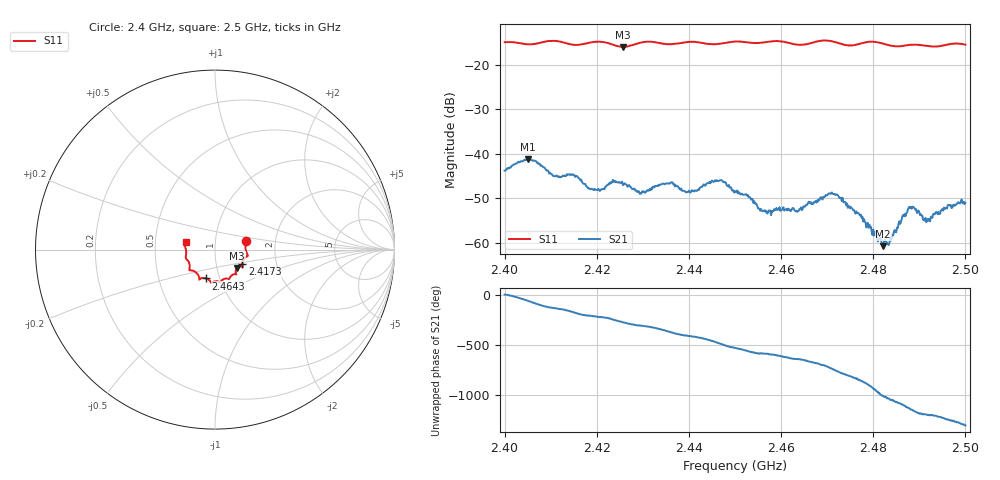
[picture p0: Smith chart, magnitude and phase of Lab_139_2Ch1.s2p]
# Hz S RI R 50
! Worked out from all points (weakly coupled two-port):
!   601 points, 2.4 GHz to 2.5 GHz, reference 50 ohm
!   highest |S21| = -41.22 dB at 2.405 GHz (marker M1); lowest = -60.8 dB at 2.4822 GHz (marker M2)
!   lowest |S11| = -15.9 dB at 2.4257 GHz (marker M3), VSWR 1.38, Z = 62.4 - j13.1 ohm
!   |S11| at or under -10 dB: start of sweep to end of sweep
!   S12 and S22 are empty: the file has one direction only
!   S11 on the Smith chart (normalised r, x): 2.4 GHz: 1.41, +0.15; 2.4173 GHz: 1.34, -0.23; 2.4643 GHz: 0.86, -0.28; 2.5 GHz: 0.72, +0.06
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2.4e9  0.1731 0.0499  0.00642 0.000549  0 0  0 0
2.405e9  0.1699 0.0139  0.00468 -0.00732  0 0  0 0
2.410667e9  0.1834 -0.034  -0.00367 -0.00423  0 0  0 0
2.416667e9  0.1528 -0.0747  -0.00488 0.00135  0 0  0 0
2.417333e9  0.1523 -0.082  -0.0043 0.00153  0 0  0 0
2.420333e9  0.1549 -0.0972  -0.00311 0.00256  0 0  0 0
2.425667e9  0.1225 -0.1023  0.000189 0.00443  0 0  0 0
2.429333e9  0.1168 -0.1334  0.00201 0.00292  0 0  0 0
2.433333e9  0.1128 -0.1365  0.00411 0.00168  0 0  0 0
2.436333e9  0.0918 -0.1448  0.00462 -0.00125  0 0  0 0
2.439833e9  0.0802 -0.1628  0.00241 -0.00282  0 0  0 0
2.446667e9  0.0424 -0.1678  -0.00279 -0.00418  0 0  0 0
2.45e9  0.0298 -0.181  -0.00375 -0.000697  0 0  0 0
2.4565e9  -0.0104 -0.1798  -0.00161 0.00167  0 0  0 0
2.464333e9  -0.0501 -0.1606  0.000677 0.0024  0 0  0 0
2.466667e9  -0.0762 -0.1599  0.00182 0.002  0 0  0 0
2.472e9  -0.0879 -0.1562  0.00272 -0.00213  0 0  0 0
2.482167e9  -0.141 -0.1009  0.00029 0.000865  0 0  0 0
2.483333e9  -0.1408 -0.0896  0.000682 0.000644  0 0  0 0
2.488167e9  -0.161 -0.0497  0.00103 -0.0023  0 0  0 0
2.491833e9  -0.1609 -0.0266  -0.000911 -0.00148  0 0  0 0
2.5e9  -0.1638 0.0422  -0.002 0.00197  0 0  0 0
